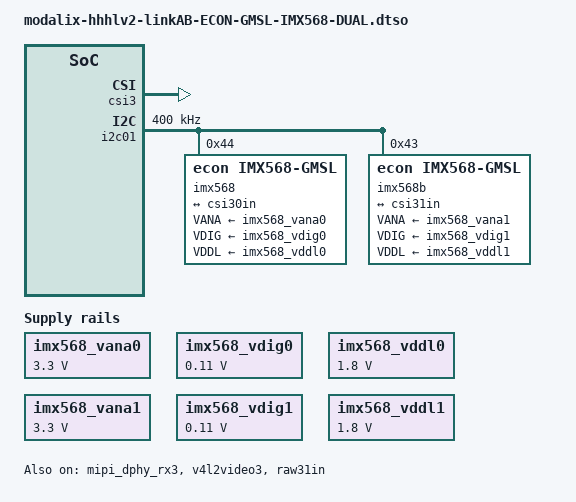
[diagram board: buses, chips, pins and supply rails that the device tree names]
// SPDX-License-Identifier: (GPL-2.0+ OR MIT)
/*
 * Copyright (c) 2026 SiMa ai
 *
 * Both cameras on the shared MAX96716A deserializer: link A
 * (Pipe Y, VC0) and link B (Pipe Z, VC1). Union of the linkA
 * and linkB overlays - load one of the three, not several.
 */

/dts-v1/;
/plugin/;

&{/} {
    /* ---- link A camera supplies ---- */
    imx568_clk0: imx568_clk0 {
        status = "okay";
        compatible = "fixed-clock";
        #clock-cells = <0>;
        clock-frequency = <37125000>;
    };

    imx568_vana0: vana0 {
        compatible = "regulator-fixed";
        regulator-name = "imx568_vana0";
        regulator-min-microvolt = <3300000>;
        regulator-max-microvolt = <3300000>;
        enable-active-high;
        startup-delay-us = <300000>;
        regulator-always-on;
    };

    imx568_vdig0: vdig0 {
        compatible = "regulator-fixed";
        regulator-name = "imx568_vdig0";
        regulator-min-microvolt = <110000>;
        regulator-max-microvolt = <110000>;
        regulator-always-on;
    };

    imx568_vddl0: vddl0 {
        compatible = "regulator-fixed";
        regulator-name = "vddl0";
        regulator-min-microvolt = <1800000>;
        regulator-max-microvolt = <1800000>;
        regulator-always-on;
    };

    /* ---- link B camera supplies ---- */
    imx568_clk1: imx568_clk1 {
        status = "okay";
        compatible = "fixed-clock";
        #clock-cells = <0>;
        clock-frequency = <37125000>;
    };

    imx568_vana1: vana1 {
        compatible = "regulator-fixed";
        regulator-name = "imx568_vana1";
        regulator-min-microvolt = <3300000>;
        regulator-max-microvolt = <3300000>;
        enable-active-high;
        startup-delay-us = <300000>;
        regulator-always-on;
    };

    imx568_vdig1: vdig1 {
        compatible = "regulator-fixed";
        regulator-name = "imx568_vdig1";
        regulator-min-microvolt = <110000>;
        regulator-max-microvolt = <110000>;
        regulator-always-on;
    };

    imx568_vddl1: vddl1 {
        compatible = "regulator-fixed";
        regulator-name = "vddl1";
        regulator-min-microvolt = <1800000>;
        regulator-max-microvolt = <1800000>;
        regulator-always-on;
    };
};

/* Shared platform nodes - enabled once for both cameras. */
&csi3 {
    status = "okay";
};

&axi_vdma3 {
    status = "okay";
};

&mipi_dphy_rx3 {
    status = "okay";
};

&v4l2video3 {
    status = "okay";
};

&v4l2vdma3 {
    status = "okay";
};

/* VC1's video capture node is status="disabled" in modalix-mipi.dtsi
 * (only VC0's raw30in is enabled there), so link B's stream would have
 * nowhere to land without this. */
&raw31in {
    status = "okay";
};

/* VC0 sink port on csi3 - link A / Pipe Y. */
&csi30in {
    clock-lanes = <0>;
    data-lanes = <1 2 3 4>;
    link-frequencies = /bits/ 64 <594000000>;
    remote-endpoint = <&cam30out>;
    clock-continuous;
};

/* VC1 sink port on csi3 - link B / Pipe Z. Must match both the VC the
 * deserializer stamps (DSER_PIPE_Z_CONF's MAP_DST_* bytes) and the
 * sima,virtual-channel property on the camera endpoint below. */
&csi31in {
    clock-lanes = <0>;
    data-lanes = <1 2 3 4>;
    link-frequencies = /bits/ 64 <594000000>;
    remote-endpoint = <&cam31out>;
    clock-continuous;
};

&i2c01 {
    status = "okay";
    clock-frequency = <400000>;
    #address-cells = <1>;
    #size-cells = <0>;

    /*
     * Both camera MCUs are natively 0x42. SER1_I2C_CONF
     * (econ_imx568_serdes.h) programs serializer A's translator with
     * SRC 0x44 -> DST 0x42, giving each camera a unique address here.
     */
    imx568: imx568@44 {
        compatible = "econ,imx568-gmsl";
        reg = <0x44>;
        clocks = <&imx568_clk0>;
        clock-names = "xclk";
        VANA-supply = <&imx568_vana0>;
        VDIG-supply = <&imx568_vdig0>;
        VDDL-supply = <&imx568_vddl0>;
        camera_mipi_lanes = <2>;
        cam_fw_name = "imx568_cam_fw_gmsl.bin";
        port@1 {
            reg = <1>;
            cam30out: endpoint@0 {
                reg = <0>;
                clock-lanes = <0>;
                data-lanes = <1 2 3 4>;
                link-frequencies = /bits/ 64 <594000000>;
                remote-endpoint = <&csi30in>;
                clock-continuous;
                /* Link A is Pipe Y / VC0. */
                sima,virtual-channel = <0>;
            };
        };
    };

    /*
     * SER2_I2C_CONF programs serializer B's translator with
     * SRC_B 0x43 -> DST_B 0x42.
     */
    imx568b: imx568@43 {
        compatible = "econ,imx568-gmsl";
        reg = <0x43>;
        clocks = <&imx568_clk1>;
        clock-names = "xclk";
        VANA-supply = <&imx568_vana1>;
        VDIG-supply = <&imx568_vdig1>;
        VDDL-supply = <&imx568_vddl1>;
        camera_mipi_lanes = <2>;
        cam_fw_name = "imx568_cam_fw_gmsl.bin";
        port@1 {
            reg = <1>;
            cam31out: endpoint@0 {
                reg = <0>;
                clock-lanes = <0>;
                data-lanes = <1 2 3 4>;
                link-frequencies = /bits/ 64 <594000000>;
                remote-endpoint = <&csi31in>;
                clock-continuous;
                /*
                 * VC the deserializer stamps on this camera's packets
                 * (DSER_PIPE_Z_CONF MAP_DST_*). The driver reports it
                 * via .get_frame_desc and dwc-mipi-csi2 programs the
                 * IPI VCID filter from it.
                 */
                sima,virtual-channel = <1>;
            };
        };
    };
};
